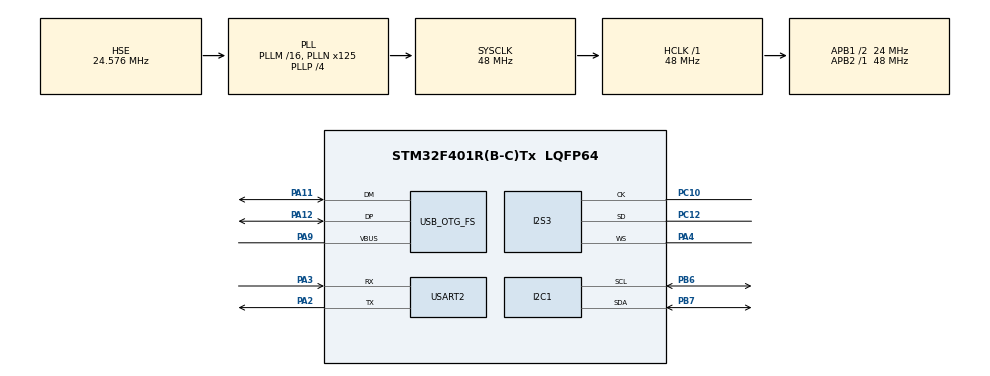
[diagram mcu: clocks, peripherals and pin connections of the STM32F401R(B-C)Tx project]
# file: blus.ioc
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Dma.Request0=SPI3_TX
Dma.SPI3_TX.0.Direction=DMA_MEMORY_TO_PERIPH
Dma.SPI3_TX.0.FIFOMode=DMA_FIFOMODE_DISABLE
Dma.SPI3_TX.0.Instance=DMA1_Stream5
Dma.SPI3_TX.0.MemDataAlignment=DMA_MDATAALIGN_BYTE
Dma.SPI3_TX.0.MemInc=DMA_MINC_ENABLE
Dma.SPI3_TX.0.Mode=DMA_NORMAL
Dma.SPI3_TX.0.PeriphDataAlignment=DMA_PDATAALIGN_BYTE
Dma.SPI3_TX.0.PeriphInc=DMA_PINC_DISABLE
Dma.SPI3_TX.0.Priority=DMA_PRIORITY_LOW
FREERTOS.Tasks01=defaultTask,24,128,StartDefaultTask,Default,NULL,Dynamic,NULL,NULL
I2S3.AudioFreq=I2S_AUDIOFREQ_48K
I2S3.ErrorAudioFreq=0.0 %
I2S3.FullDuplexMode=I2S_FULLDUPLEXMODE_DISABLE
I2S3.Instance=SPI$Index
I2S3.RealAudioFreq=48.0 KHz
I2S3.VirtualMode=I2S_MODE_MASTER
Mcu.Family=STM32F4
Mcu.Name=STM32F401R(B-C)Tx
Mcu.Package=LQFP64
NVIC.DMA1_Stream5_IRQn=true\:5\:0\:false\:false\:true\:false\:false\:true\:true
NVIC.OTG_FS_IRQn=true\:5\:0\:false\:false\:true\:true\:true\:true\:true
NVIC.PriorityGroup=NVIC_PRIORITYGROUP_4
NVIC.TIM1_UP_TIM10_IRQn=true\:15\:0\:false\:false\:true\:false\:false\:true\:true
NVIC.TimeBase=TIM1_UP_TIM10_IRQn
NVIC.TimeBaseIP=TIM1
PA11.Mode=Device_Only
PA11.Signal=USB_OTG_FS_DM
PA12.Mode=Device_Only
PA12.Signal=USB_OTG_FS_DP
PA2.Mode=Asynchronous
PA2.Signal=USART2_TX
PA3.Mode=Asynchronous
PA3.Signal=USART2_RX
PA4.Mode=Half_Duplex_Master
PA4.Signal=I2S3_WS
PA9.Mode=Activate_VBUS
PA9.Signal=USB_OTG_FS_VBUS
PB6.Mode=I2C
PB6.Signal=I2C1_SCL
PB7.Mode=I2C
PB7.Signal=I2C1_SDA
PC10.Mode=Half_Duplex_Master
PC10.Signal=I2S3_CK
PC12.Mode=Half_Duplex_Master
PC12.Signal=I2S3_SD
PH0\ -\ OSC_IN.Mode=HSE-External-Clock-Source
PH0\ -\ OSC_IN.Signal=RCC_OSC_IN
PH1\ -\ OSC_OUT.Mode=HSE-External-Clock-Source
PH1\ -\ OSC_OUT.Signal=RCC_OSC_OUT
ProjectManager.HeapSize=0x200
ProjectManager.StackSize=0x400
ProjectManager.TargetToolchain=Makefile
RCC.48MHZClocksFreq_Value=48000000
RCC.AHBFreq_Value=48000000
RCC.APB1CLKDivider=RCC_HCLK_DIV2
RCC.APB1Freq_Value=24000000
RCC.APB1TimFreq_Value=48000000
RCC.APB2Freq_Value=48000000
RCC.APB2TimFreq_Value=48000000
RCC.CortexFreq_Value=48000000
RCC.HCLKFreq_Value=48000000
RCC.HSE_VALUE=24576000
RCC.HSI_VALUE=16000000
RCC.LSE_VALUE=32768
RCC.PLLI2SN=66
RCC.PLLN=125
RCC.PLLP=RCC_PLLP_DIV4
RCC.SYSCLKFreq_VALUE=48000000
RCC.SYSCLKSource=RCC_SYSCLKSOURCE_PLLCLK
RCC.VCOOutputFreq_Value=192000000
USART2.VirtualMode=VM_ASYNC
USB_OTG_FS.VirtualMode=Device_Only
VP_FREERTOS_VS_CMSIS_V2.Mode=CMSIS_V2
VP_SYS_VS_tim1.Mode=TIM1
board=custom

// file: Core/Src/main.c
/* USER CODE BEGIN Header */
/**
 ******************************************************************************
 * @file           : main.c
 * @brief          : Main program body
 ******************************************************************************
 * @attention
 *
 * Copyright (c) 2023 STMicroelectronics.
 * All rights reserved.
 *
 * This software is licensed under terms that can be found in the LICENSE file
 * in the root directory of this software component.
 * If no LICENSE file comes with this software, it is provided AS-IS.
 *
 ******************************************************************************
 */
/* USER CODE END Header */
#include "main.h"
#include "cmsis_os.h"

/* USER CODE BEGIN Includes */
#include <stdbool.h>
#include "tusb.h"
#include "tas2780.h"
/* USER CODE END Includes */

/* USER CODE BEGIN PD */
#define USBD_STACK_SIZE 4096
/* USER CODE END PD */

I2C_HandleTypeDef hi2c1;

I2S_HandleTypeDef hi2s3;
DMA_HandleTypeDef hdma_spi3_tx;

UART_HandleTypeDef huart2;

PCD_HandleTypeDef hpcd_USB_OTG_FS;

/* Definitions for defaultTask */
osThreadId_t defaultTaskHandle;
const osThreadAttr_t defaultTask_attributes = {
  .name = "defaultTask",
  .stack_size = 128 * 4,
  .priority = (osPriority_t) osPriorityNormal,
};
/* USER CODE BEGIN PV */

osThreadId_t usbTaskHandle;
const osThreadAttr_t usbTask_attributes = {
  .name = "usbTask",
  .stack_size = USBD_STACK_SIZE,
  .priority = (osPriority_t) osPriorityHigh,
};

osThreadId_t amplifierTaskHandle;
const osThreadAttr_t amplifierTask_attributes = {
  .name = "amplifierTask",
  .stack_size = 128 * 4,
  .priority = (osPriority_t) osPriorityNormal,
};

/* USER CODE END PV */

void SystemClock_Config(void);
static void MX_GPIO_Init(void);
static void MX_DMA_Init(void);
static void MX_I2C1_Init(void);
static void MX_I2S3_Init(void);
static void MX_USB_OTG_FS_PCD_Init(void);
static void MX_USART2_UART_Init(void);
void StartDefaultTask(void *argument);

/* USER CODE BEGIN PFP */
void usbTask(void *argument);
void amplifierTask(void *argument);

/* USER CODE END PFP */

int main(void)
{

  /* MCU Configuration--------------------------------------------------------*/

  /* Reset of all peripherals, Initializes the Flash interface and the Systick. */
  HAL_Init();

  /* Configure the system clock */
  SystemClock_Config();

  /* Initialize all configured peripherals */
  MX_GPIO_Init();
  MX_DMA_Init();
  MX_I2C1_Init();
  MX_I2S3_Init();
  MX_USB_OTG_FS_PCD_Init();
  MX_USART2_UART_Init();
  /* USER CODE BEGIN 2 */
  // defaultTaskHandle = osThreadNew(StartDefaultTask, NULL, &defaultTask_attributes);

  amplifierTaskHandle = osThreadNew(amplifierTask, NULL, &amplifierTask_attributes);
  usbTaskHandle = osThreadNew(usbTask, NULL, &usbTask_attributes);

  /* USER CODE END 2 */

  /* Init scheduler */
  osKernelInitialize();
/* USER CODE BEGIN Header */
/**
 ******************************************************************************
 * @file           : main.c
 * @brief          : Main program body
 ******************************************************************************
 * @attention
 *
 * Copyright (c) 2023 STMicroelectronics.
 * All rights reserved.
 *
 * This software is licensed under terms that can be found in the LICENSE file
 * in the root directory of this software component.
 * If no LICENSE file comes with this software, it is provided AS-IS.
 *
 ******************************************************************************
 */
/* USER CODE END Header */

  /* Start scheduler */
  osKernelStart();

  /* We should never get here as control is now taken by the scheduler */
  /* Infinite loop */
  while (1)
  {

  }
}

void SystemClock_Config(void)
{
  RCC_OscInitTypeDef RCC_OscInitStruct = {0};
  RCC_ClkInitTypeDef RCC_ClkInitStruct = {0};

  /** Configure the main internal regulator output voltage
  */
  __HAL_RCC_PWR_CLK_ENABLE();
  __HAL_PWR_VOLTAGESCALING_CONFIG(PWR_REGULATOR_VOLTAGE_SCALE2);

  /** Initializes the RCC Oscillators according to the specified parameters
  * in the RCC_OscInitTypeDef structure.
  */
  RCC_OscInitStruct.OscillatorType = RCC_OSCILLATORTYPE_HSE;
  RCC_OscInitStruct.HSEState = RCC_HSE_BYPASS;
  RCC_OscInitStruct.PLL.PLLState = RCC_PLL_ON;
  RCC_OscInitStruct.PLL.PLLSource = RCC_PLLSOURCE_HSE;
  RCC_OscInitStruct.PLL.PLLM = 16;
  RCC_OscInitStruct.PLL.PLLN = 125;
  RCC_OscInitStruct.PLL.PLLP = RCC_PLLP_DIV4;
  RCC_OscInitStruct.PLL.PLLQ = 4;
  if (HAL_RCC_OscConfig(&RCC_OscInitStruct) != HAL_OK)
  {
    Error_Handler();
  }

  /** Initializes the CPU, AHB and APB buses clocks
  */
  RCC_ClkInitStruct.ClockType = RCC_CLOCKTYPE_HCLK|RCC_CLOCKTYPE_SYSCLK
                              |RCC_CLOCKTYPE_PCLK1|RCC_CLOCKTYPE_PCLK2;
  RCC_ClkInitStruct.SYSCLKSource = RCC_SYSCLKSOURCE_PLLCLK;
  RCC_ClkInitStruct.AHBCLKDivider = RCC_SYSCLK_DIV1;
  RCC_ClkInitStruct.APB1CLKDivider = RCC_HCLK_DIV2;
  RCC_ClkInitStruct.APB2CLKDivider = RCC_HCLK_DIV1;

  if (HAL_RCC_ClockConfig(&RCC_ClkInitStruct, FLASH_LATENCY_1) != HAL_OK)
  {
    Error_Handler();
  }
}

static void MX_I2C1_Init(void)
{

  hi2c1.Instance = I2C1;
  hi2c1.Init.ClockSpeed = 100000;
  hi2c1.Init.DutyCycle = I2C_DUTYCYCLE_2;
  hi2c1.Init.OwnAddress1 = 0;
  hi2c1.Init.AddressingMode = I2C_ADDRESSINGMODE_7BIT;
  hi2c1.Init.DualAddressMode = I2C_DUALADDRESS_DISABLE;
  hi2c1.Init.OwnAddress2 = 0;
  hi2c1.Init.GeneralCallMode = I2C_GENERALCALL_DISABLE;
  hi2c1.Init.NoStretchMode = I2C_NOSTRETCH_DISABLE;
  if (HAL_I2C_Init(&hi2c1) != HAL_OK)
  {
    Error_Handler();
  }

}

static void MX_I2S3_Init(void)
{

  hi2s3.Instance = SPI3;
  hi2s3.Init.Mode = I2S_MODE_MASTER_TX;
  hi2s3.Init.Standard = I2S_STANDARD_PHILIPS;
  hi2s3.Init.DataFormat = I2S_DATAFORMAT_16B;
  hi2s3.Init.MCLKOutput = I2S_MCLKOUTPUT_DISABLE;
  hi2s3.Init.AudioFreq = I2S_AUDIOFREQ_48K;
  hi2s3.Init.CPOL = I2S_CPOL_LOW;
  hi2s3.Init.ClockSource = I2S_CLOCK_PLL;
  hi2s3.Init.FullDuplexMode = I2S_FULLDUPLEXMODE_DISABLE;
  if (HAL_I2S_Init(&hi2s3) != HAL_OK)
  {
    Error_Handler();
  }

}

static void MX_USART2_UART_Init(void)
{

  huart2.Instance = USART2;
  huart2.Init.BaudRate = 115200;
  huart2.Init.WordLength = UART_WORDLENGTH_8B;
  huart2.Init.StopBits = UART_STOPBITS_1;
  huart2.Init.Parity = UART_PARITY_NONE;
  huart2.Init.Mode = UART_MODE_TX_RX;
  huart2.Init.HwFlowCtl = UART_HWCONTROL_NONE;
  huart2.Init.OverSampling = UART_OVERSAMPLING_16;
  if (HAL_UART_Init(&huart2) != HAL_OK)
  {
    Error_Handler();
  }

}

static void MX_USB_OTG_FS_PCD_Init(void)
{

  hpcd_USB_OTG_FS.Instance = USB_OTG_FS;
  hpcd_USB_OTG_FS.Init.dev_endpoints = 4;
  hpcd_USB_OTG_FS.Init.speed = PCD_SPEED_FULL;
  hpcd_USB_OTG_FS.Init.dma_enable = DISABLE;
  hpcd_USB_OTG_FS.Init.phy_itface = PCD_PHY_EMBEDDED;
  hpcd_USB_OTG_FS.Init.Sof_enable = DISABLE;
  hpcd_USB_OTG_FS.Init.low_power_enable = DISABLE;
  hpcd_USB_OTG_FS.Init.lpm_enable = DISABLE;
  hpcd_USB_OTG_FS.Init.vbus_sensing_enable = ENABLE;
  hpcd_USB_OTG_FS.Init.use_dedicated_ep1 = DISABLE;
  if (HAL_PCD_Init(&hpcd_USB_OTG_FS) != HAL_OK)
  {
    Error_Handler();
  }

}

static void MX_DMA_Init(void)
{

  /* DMA controller clock enable */
  __HAL_RCC_DMA1_CLK_ENABLE();

  /* DMA interrupt init */
  /* DMA1_Stream5_IRQn interrupt configuration */
  HAL_NVIC_SetPriority(DMA1_Stream5_IRQn, 5, 0);
  HAL_NVIC_EnableIRQ(DMA1_Stream5_IRQn);

}

static void MX_GPIO_Init(void)
{

  /* GPIO Ports Clock Enable */
  __HAL_RCC_GPIOH_CLK_ENABLE();
  __HAL_RCC_GPIOA_CLK_ENABLE();
  __HAL_RCC_GPIOC_CLK_ENABLE();
  __HAL_RCC_GPIOB_CLK_ENABLE();

}

/* USER CODE BEGIN 4 */
void setup_amplifier(uint16_t address, uint8_t channel_selection)
{
  uint8_t buf[2];
  const uint32_t DEFAULT_TIMEOUT = 10000;

  buf[0] = TAS2780_PAGE_REG;
  buf[1] = 0x00u; // Page 0
  HAL_I2C_Master_Transmit(&hi2c1, address, buf, 2, DEFAULT_TIMEOUT);

  buf[0] = TAS2780_BOOK_REG;
  buf[1] = 0x00u; // Go to book 0x00
  HAL_I2C_Master_Transmit(&hi2c1, address, buf, 2, DEFAULT_TIMEOUT);

  buf[0] = TAS2780_SW_RESET_REG;
  buf[1] = (0x01u << TAS2780_SW_RESET_SW_RESET_POS) & TAS2780_SW_RESET_SW_RESET_MASK; // Perform software reset
  HAL_I2C_Master_Transmit(&hi2c1, address, buf, 2, DEFAULT_TIMEOUT);

  osDelay(1);

  buf[0] = TAS2780_PAGE_REG;
  buf[1] = 0x01u; // Page 1
  HAL_I2C_Master_Transmit(&hi2c1, address, buf, 2, DEFAULT_TIMEOUT);

  // undocumented
  buf[0] = 0x17u;
  buf[1] = 0xC0u;
  HAL_I2C_Master_Transmit(&hi2c1, address, buf, 2, DEFAULT_TIMEOUT);

  buf[0] = TAS2780_LSR_REG;
  buf[1] = (0x01u << TAS2780_LSR_EN_LLSR_POS) & TAS2780_LSR_EN_LLSR_MASK;
  HAL_I2C_Master_Transmit(&hi2c1, address, buf, 2, DEFAULT_TIMEOUT);

  // undocumented
  buf[0] = 0x21u;
  buf[1] = 0x00u;
  HAL_I2C_Master_Transmit(&hi2c1, address, buf, 2, DEFAULT_TIMEOUT);

  // undocumented
  buf[0] = 0x35u;
  buf[1] = 0x74u;
  HAL_I2C_Master_Transmit(&hi2c1, address, buf, 2, DEFAULT_TIMEOUT);

  buf[0] = TAS2780_PAGE_REG;
  buf[1] = 0xFDu;
  HAL_I2C_Master_Transmit(&hi2c1, address, buf, 2, DEFAULT_TIMEOUT);

  // undocumented
  buf[0] = 0x0Du;
  buf[1] = 0x0Du;
  HAL_I2C_Master_Transmit(&hi2c1, address, buf, 2, DEFAULT_TIMEOUT);

  // undocumented
  buf[0] = 0x3Eu;
  buf[1] = 0x4Au;
  HAL_I2C_Master_Transmit(&hi2c1, address, buf, 2, DEFAULT_TIMEOUT);

  // undocumented
  buf[0] = 0x0Du;
  buf[1] = 0x00u;
  HAL_I2C_Master_Transmit(&hi2c1, address, buf, 2, DEFAULT_TIMEOUT);

  buf[0] = TAS2780_PAGE_REG;
  buf[1] = 0x00u; // Page 0
  HAL_I2C_Master_Transmit(&hi2c1, address, buf, 2, DEFAULT_TIMEOUT);

  buf[0] = TAS2780_CHNL_0_REG;
  buf[1] = ((0x03u << TAS2780_CHNL_0_CDS_MODE_POS) & TAS2780_CHNL_0_CDS_MODE_MASK) | ((TAS2780_CHNL_0_AMP_LEVEL_DEFAULT << TAS2780_CHNL_0_AMP_LEVEL_POS) & TAS2780_CHNL_0_AMP_LEVEL_MASK);
  HAL_I2C_Master_Transmit(&hi2c1, address, buf, 2, DEFAULT_TIMEOUT);

  buf[0] = TAS2780_DC_BLK0_REG;
  buf[1] = ((0x01u << TAS2780_DC_BLK0_VBAT1S_MODE_POS) & TAS2780_DC_BLK0_VBAT1S_MODE_MASK) | ((0x01u << TAS2780_DC_BLK0_AMP_SS_POS) & TAS2780_DC_BLK0_AMP_SS_MASK) | ((0x01u << TAS2780_DC_BLK0_HPF_FREQ_PB_POS) & TAS2780_DC_BLK0_HPF_FREQ_PB_MASK);
  HAL_I2C_Master_Transmit(&hi2c1, address, buf, 2, DEFAULT_TIMEOUT);

  buf[0] = TAS2780_PVDD_UVLO_REG;
  buf[1] = 0x0Eu; // 6.5 V
  HAL_I2C_Master_Transmit(&hi2c1, address, buf, 2, DEFAULT_TIMEOUT);

  buf[0] = TAS2780_TDM_CFG2_REG;
  buf[1] = ((0x02u << TAS2780_TDM_CFG2_RX_SLEN_POS) & TAS2780_TDM_CFG2_RX_SLEN_MASK) | ((0x02u << TAS2780_TDM_CFG2_RX_WLEN_POS) & TAS2780_TDM_CFG2_RX_WLEN_MASK) | ((channel_selection << TAS2780_TDM_CFG2_RX_SCFG_POS) & TAS2780_TDM_CFG2_RX_SCFG_MASK);
  HAL_I2C_Master_Transmit(&hi2c1, address, buf, 2, DEFAULT_TIMEOUT);

  buf[0] = TAS2780_MODE_CTRL_REG;
  buf[1] = ((0x00 << TAS2780_MODE_CTRL_MODE_POS) & TAS2780_MODE_CTRL_MODE_MASK);
  HAL_I2C_Master_Transmit(&hi2c1, address, buf, 2, DEFAULT_TIMEOUT);
}

bool tas2780_is_active(uint16_t address)
{
  uint8_t reg;
  HAL_I2C_Mem_Read(&hi2c1, address, TAS2780_MODE_CTRL_REG, I2C_MEMADD_SIZE_8BIT, &reg, 1, 10000);
  uint8_t state = (reg & TAS2780_MODE_CTRL_MODE_MASK) >> TAS2780_MODE_CTRL_MODE_POS;

  return ((state == TAS2780_MODE_CTRL_MODE_ACTIVE_WITHOUT_MUTE) || (state == TAS2780_MODE_CTRL_MODE_ACTIVE_WITH_MUTE));
}

/**
 * @brief  USB worker
 * @param  argument: Not used
 * @retval None
 */
void usbTask(void *argument)
{
  tusb_init();

  while (true)
  {
    tud_task();
  }
}

/**
 * @brief  Amplifier handling task
 * @param  argument: Not used
 * @retval None
 */
void amplifierTask(void *argument)
{
  while (true)
  {
    osDelay(1000);

    if (
        !tas2780_is_active(TAS2780_DEVICE_ADDRESS_A) ||
        !tas2780_is_active(TAS2780_DEVICE_ADDRESS_B) ||
        !tas2780_is_active(TAS2780_DEVICE_ADDRESS_C) ||
        !tas2780_is_active(TAS2780_DEVICE_ADDRESS_D))
    {
      setup_amplifier(TAS2780_DEVICE_ADDRESS_A, TAS2780_TDM_CFG2_RX_SCFG_MONO_LEFT);
      setup_amplifier(TAS2780_DEVICE_ADDRESS_B, TAS2780_TDM_CFG2_RX_SCFG_MONO_RIGHT);
      setup_amplifier(TAS2780_DEVICE_ADDRESS_C, TAS2780_TDM_CFG2_RX_SCFG_MONO_LEFT);
      setup_amplifier(TAS2780_DEVICE_ADDRESS_D, TAS2780_TDM_CFG2_RX_SCFG_MONO_RIGHT);
    }
  }
}

#if defined(__GNUC__)
int _write(int fd, char * ptr, int len)
{
  HAL_UART_Transmit(&huart2, (uint8_t *) ptr, len, HAL_MAX_DELAY);
  return len;
}
#elif defined (__ICCARM__)
#include "LowLevelIOInterface.h"
size_t __write(int handle, const unsigned char * buffer, size_t size)
{
  HAL_UART_Transmit(&huart1, (uint8_t *) buffer, size, HAL_MAX_DELAY);
  return size;
}
#elif defined (__CC_ARM)
int fputc(int ch, FILE *f)
{
    HAL_UART_Transmit(&huart1, (uint8_t *)&ch, 1, HAL_MAX_DELAY);
    return ch;
}
#endif

/* USER CODE END 4 */

void StartDefaultTask(void *argument)
{
  /* USER CODE BEGIN 5 */

  /* Infinite loop */
  for (;;)
  {
    osDelay(1000);
  }
  /* USER CODE END 5 */
}

void HAL_TIM_PeriodElapsedCallback(TIM_HandleTypeDef *htim)
{
  if (htim->Instance == TIM1) {
    HAL_IncTick();
  }
}

void Error_Handler(void)
{
  __disable_irq();
  while (1)
  {
  }
}
